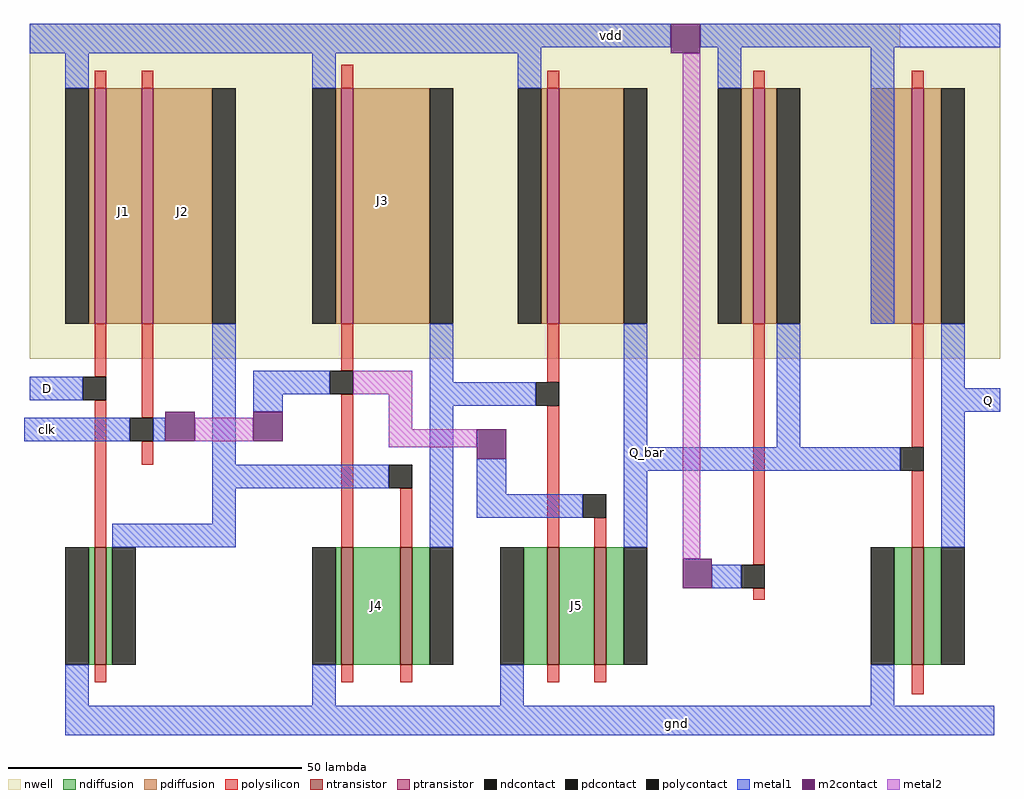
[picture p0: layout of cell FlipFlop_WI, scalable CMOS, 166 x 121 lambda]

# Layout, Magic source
magic
tech scmos
<< nwell >>
rect 0 53 148 57
rect 0 0 165 53
<< ntransistor >>
rect 11 -52 13 -32
rect 53 -52 55 -32
rect 63 -52 65 -32
rect 88 -52 90 -32
rect 96 -52 98 -32
rect 150 -52 152 -32
<< ptransistor >>
rect 11 6 13 46
rect 19 6 21 46
rect 53 6 55 46
rect 88 6 90 46
rect 123 6 125 46
rect 150 6 152 46
<< ndiffusion >>
rect 10 -52 11 -32
rect 13 -52 14 -32
rect 52 -52 53 -32
rect 55 -52 63 -32
rect 65 -52 68 -32
rect 84 -52 88 -32
rect 90 -52 96 -32
rect 98 -52 101 -32
rect 147 -52 150 -32
rect 152 -52 155 -32
<< pdiffusion >>
rect 10 6 11 46
rect 13 6 19 46
rect 21 6 31 46
rect 52 6 53 46
rect 55 6 68 46
rect 87 6 88 46
rect 90 6 101 46
rect 121 6 123 46
rect 125 6 127 46
rect 143 6 150 46
rect 152 6 155 46
<< ndcontact >>
rect 6 -52 10 -32
rect 14 -52 18 -32
rect 48 -52 52 -32
rect 68 -52 72 -32
rect 80 -52 84 -32
rect 101 -52 105 -32
rect 143 -52 147 -32
rect 155 -52 159 -32
<< pdcontact >>
rect 6 6 10 46
rect 31 6 35 46
rect 48 6 52 46
rect 68 6 72 46
rect 83 6 87 46
rect 101 6 105 46
rect 117 6 121 46
rect 127 6 131 46
rect 155 6 159 46
<< polysilicon >>
rect 11 46 13 49
rect 19 46 21 49
rect 53 46 55 50
rect 88 46 90 49
rect 123 46 125 49
rect 150 46 152 49
rect 11 -3 13 6
rect 11 -32 13 -7
rect 19 -10 21 6
rect 53 -2 55 6
rect 88 -4 90 6
rect 19 -18 21 -14
rect 53 -32 55 -6
rect 63 -32 65 -22
rect 88 -32 90 -8
rect 96 -32 98 -27
rect 123 -35 125 6
rect 150 -15 152 6
rect 150 -32 152 -19
rect 123 -41 125 -39
rect 11 -55 13 -52
rect 53 -55 55 -52
rect 63 -55 65 -52
rect 88 -55 90 -52
rect 96 -55 98 -52
rect 150 -57 152 -52
<< polycontact >>
rect 9 -7 13 -3
rect 51 -6 55 -2
rect 17 -14 21 -10
rect 86 -8 90 -4
rect 61 -22 65 -18
rect 94 -27 98 -23
rect 148 -19 152 -15
rect 121 -39 125 -35
<< metal1 >>
rect 0 53 109 57
rect 0 52 87 53
rect 114 53 165 57
rect 6 46 10 52
rect 48 46 52 52
rect 83 46 87 52
rect 117 46 121 53
rect 143 6 147 53
rect 0 -7 9 -3
rect -1 -14 17 -10
rect 21 -14 23 -10
rect 31 -18 35 6
rect 38 -6 51 -2
rect 68 -4 72 6
rect 38 -9 43 -6
rect 68 -8 86 -4
rect 31 -22 61 -18
rect 31 -28 35 -22
rect 14 -32 35 -28
rect 68 -32 72 -8
rect 76 -23 81 -17
rect 101 -15 105 6
rect 127 -15 131 6
rect 155 -5 159 6
rect 155 -9 165 -5
rect 101 -19 148 -15
rect 76 -27 94 -23
rect 101 -32 105 -19
rect 155 -32 159 -9
rect 116 -39 121 -35
rect 6 -59 10 -52
rect 48 -59 52 -52
rect 80 -59 84 -52
rect 143 -59 147 -52
rect 6 -64 164 -59
<< m2contact >>
rect 109 52 114 57
rect 23 -14 28 -9
rect 38 -14 43 -9
rect 76 -17 81 -12
rect 111 -39 116 -34
<< metal2 >>
rect 55 -6 65 -2
rect 28 -14 38 -10
rect 61 -12 65 -6
rect 61 -15 76 -12
rect 111 -34 114 52
<< labels >>
rlabel metal1 163 -7 163 -7 7 Q
rlabel metal1 110 -62 110 -62 1 gnd
rlabel metal1 99 55 99 55 5 vdd
rlabel metal1 3 -5 3 -5 3 D
rlabel metal1 3 -12 3 -12 3 clk
rlabel pdiffusion 16 25 16 25 1 J1
rlabel pdiffusion 26 25 26 25 1 J2
rlabel pdiffusion 60 27 60 27 1 J3
rlabel ndiffusion 59 -42 59 -42 1 J4
rlabel ndiffusion 93 -42 93 -42 1 J5
rlabel metal1 105 -16 105 -16 1 Q_bar
<< end >>
